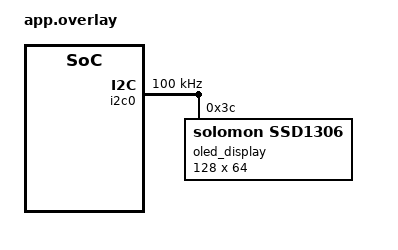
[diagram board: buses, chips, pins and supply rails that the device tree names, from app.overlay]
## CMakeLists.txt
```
# SPDX-License-Identifier: Apache-2.0

cmake_minimum_required(VERSION 3.20.0)

find_package(Zephyr REQUIRED HINTS $ENV{ZEPHYR_BASE})
project(lvgl)

FILE(GLOB app_sources src/*.c)
FILE(GLOB time_source src/time/*.c)
target_sources(app PRIVATE
                ${app_sources}
                ${time_source}
)
```

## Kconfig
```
# Copyright (c) 2023 Nordic Semiconductor ASA
# SPDX-License-Identifier: Apache-2.0

source "Kconfig.zephyr"

mainmenu "LVGL Sample"

config RESET_COUNTER_SW0
	bool "Reset counter when sw0 is pressed"
	depends on $(dt_alias_enabled,sw0)
	select GPIO
	default y

mainmenu "Network Wi-Fi apsta_mode application"

config WIFI_SAMPLE_AP_SSID
	string "SSID of soft AP"
	help
	  SSID of the soft AP created by the sample.
	  Fox example: "SOFT-AP"

config WIFI_SAMPLE_AP_PSK
	string "Pre-shared key for soft AP"
	help
	  WPA2 password used by the soft AP for client authentication.
	  For example: "PSK"

config WIFI_SAMPLE_SSID
	string "SSID of the target AP"
	help
	  SSID of the access point to connect to in station mode.
	  For example: "TARGET-AP"

config WIFI_SAMPLE_PSK
	string "Pre-shared key for target AP"
	help
	  WPA2 password used to connect to the target AP.
	  For example: "PSK"

config WIFI_SAMPLE_DHCPV4_START
	bool "Start DHCPv4 server in application layer."
	default y
	help
	  Enable this option to start the DHCPv4 server from the application layer,
	  typically before the Soft AP is initialized.

	  When disabled, the DHCPv4 server startup timing is determined by the vendor's
	  implementation. In some cases, the server may be started after the AP is up,
	  using the vendor's default IP address, gateway, subnet mask.


if WIFI_SAMPLE_DHCPV4_START

# Some vendors start the DHCPv4 server after Soft AP initialization,
# using default IP address and subnet mask. In such cases, manual
# configuration of gateway and netmask may not be necessary.
# The following options are used only if the DHCPv4 server is started
# by the application.

config WIFI_SAMPLE_AP_IP_ADDRESS
	string "IP address of soft AP"
	help
	  IP address assigned to the soft AP interface.
	  For example: "192.168.4.1"

config WIFI_SAMPLE_AP_NETMASK
	string "Netmask of soft AP"
	help
	  Subnet mask for the soft AP interface.
	  For example: "255.255.255.0"
endif # WIFI_SAMPLE_DHCPV4_START

config NET_SAMPLE_SNTP_SERVER_ADDRESS
	string "SNTP server address"
	default "pool.ntp.org"

config NET_SAMPLE_SNTP_SERVER_PORT
	int "SNTP server port"
	default 123

config NET_SAMPLE_SNTP_SERVER_TIMEOUT_MS
	int "Duration to wait for response"
	default 5000
```

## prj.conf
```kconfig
CONFIG_LV_Z_MEM_POOL_SIZE=16384
CONFIG_LV_Z_SHELL=y
CONFIG_MAIN_STACK_SIZE=4096

# --- CONFIG DISPLAY ---
CONFIG_DISPLAY=y
CONFIG_SSD1306=y
CONFIG_DISPLAY_LOG_LEVEL_ERR=y

CONFIG_INPUT=y
CONFIG_LOG=y
CONFIG_SHELL=y

# --- CONFIG LVGL CHUẨN ĐƠN SẮC 1-BIT ---
CONFIG_LVGL=y
CONFIG_LV_COLOR_DEPTH_1=y
CONFIG_LV_Z_BITS_PER_PIXEL=1
CONFIG_LV_Z_VDB_SIZE=64
CONFIG_LV_USE_THEME_DEFAULT=n

CONFIG_LV_USE_LOG=y
CONFIG_LV_USE_LABEL=y
CONFIG_LV_FONT_MONTSERRAT_14=y

# --- BẬT STACK MẠNG CỦA ZEPHYR ---
CONFIG_NETWORKING=y
CONFIG_NET_L2_ETHERNET=y
CONFIG_NET_LOG=y
CONFIG_NET_SHELL=y

# --- CẤU HÌNH IPV4 VÀ DHCP ---
CONFIG_NET_IPV4=y
CONFIG_NET_DHCPV4=y
CONFIG_NET_TCP=y
CONFIG_NET_SOCKETS=y

# --- BẬT TÍNH NĂNG WI-FI ---
CONFIG_WIFI=y
CONFIG_WIFI_ESP32=y

CONFIG_NET_L2_WIFI_SHELL=y
CONFIG_SHELL_BACKEND_SERIAL=y
CONFIG_NET_DHCPV4_SERVER=y
CONFIG_WIFI_SAMPLE_AP_SSID="hello"
CONFIG_WIFI_SAMPLE_SSID="thuy_trang_xinh_dep"
CONFIG_WIFI_SAMPLE_PSK="ffffffff"
CONFIG_WIFI_SAMPLE_AP_NETMASK="255.255.255.0"
CONFIG_WIFI_SAMPLE_AP_IP_ADDRESS="192.168.4.1"

CONFIG_POSIX_API=y
CONFIG_POSIX_C_LANG_SUPPORT_R=y
CONFIG_SNTP=y
CONFIG_NET_CONFIG_CLOCK_SNTP_INIT=y
CONFIG_NET_CONFIG_SNTP_INIT_SERVER="vn.pool.ntp.org"
CONFIG_NET_CONFIG_SNTP_INIT_RESYNC=y

CONFIG_DNS_RESOLVER=y
CONFIG_DNS_SERVER_IP_ADDRESSES=y
CONFIG_DNS_SERVER1="8.8.8.8"
CONFIG_DNS_SERVER2="8.8.4.4"

CONFIG_NET_LOG=y
CONFIG_NET_SOCKETS_SERVICE=y
CONFIG_ZVFS_POLL_MAX=4
CONFIG_NET_CONNECTION_MANAGER=y

CONFIG_STDOUT_CONSOLE=y
# enable to use thread names
CONFIG_THREAD_NAME=y
```

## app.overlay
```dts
&pinctrl {
    i2c0_custom: i2c0_custom {
        group1 {
            pinmux = <I2C0_SDA_GPIO8>,
                     <I2C0_SCL_GPIO9>;
            bias-pull-up;
            drive-open-drain;
            output-high;
        };
    };
};


&i2c0 {
    status = "okay";
    pinctrl-0 = <&i2c0_custom>;
    pinctrl-names = "default";
    clock-frequency = <I2C_BITRATE_STANDARD>;

    oled_display: ssd1306@3c {
        compatible = "solomon,ssd1306";
        reg = <0x3c>;
        status = "okay";
        width = <128>;
        height = <64>;
        segment-offset = <0>;
        page-offset = <0>;
        display-offset = <0>;
        multiplex-ratio = <63>;
        segment-remap;
        com-invdir;
        prechargep = <0x22>;
        softreset-on;
        ready-time-ms = <100>;
    };
};

/* 3. Cấu hình chosen gán oled_display làm màn hình chính */
/ {
    chosen {
        zephyr,display = &oled_display;
    };
};
```

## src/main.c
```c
#include <zephyr/kernel.h>
#include <zephyr/device.h>
#include <zephyr/devicetree.h>
#include <zephyr/drivers/display.h>
#include <lvgl.h>
#include <zephyr/kernel.h>
#include <zephyr/logging/log.h>
#include <zephyr/net/wifi_mgmt.h>
#include <zephyr/net/dhcpv4_server.h>
#include "display.h"
#include "wifi_connect.h"
#include "time/time.h"
#include "net_sample_common.h"

/* size of stack area used by each thread */
#define STACKSIZE 2048

/* scheduling priority used by each thread */
#define PRIORITY 7
K_THREAD_STACK_DEFINE(thread_init_wifi_stack_area, STACKSIZE);
static struct k_thread thread_init_wifi_data;

void thread_init_wifi(void *dummy1, void *dummy2, void *dummy3)
{
    int retry_count = 0;
    const int max_retries = 5;
    k_sleep(K_SECONDS(5));

    init_wifi();
	connect_to_wifi();

    wait_for_network();
    k_sleep(K_SECONDS(10));
    for (retry_count = 0; retry_count < max_retries; retry_count++) {
        if (do_sntp(AF_INET) == 0) {
            break;
        }
        printk("SNTP query failed, retrying... (%d/%d)", retry_count + 1, max_retries);
        k_sleep(K_SECONDS(3));
    }
}

int main(void)
{
    k_thread_create(&thread_init_wifi_data, thread_init_wifi_stack_area,
                    K_THREAD_STACK_SIZEOF(thread_init_wifi_stack_area),
                    thread_init_wifi, NULL, NULL, NULL,
                    PRIORITY, 0, K_NO_WAIT);
    display_init();
    while (1) {
        display_task_handler();
        k_sleep(K_MSEC(10)); 
    }
}
```

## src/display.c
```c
#undef _POSIX_C_SOURCE
#define _POSIX_C_SOURCE 200809L
#include <zephyr/kernel.h>
#include <zephyr/device.h>
#include <zephyr/devicetree.h>
#include <zephyr/drivers/display.h>
#include <lvgl.h>
#include <sys/time.h>
#include <time.h>
#include <stdio.h>
#include "display.h"
#include "time/time.h"

// --- QUẢN LÝ MÀN HÌNH ---
#define TOTAL_SCREENS 4
static lv_obj_t *screens[TOTAL_SCREENS]; // Mảng quản lý 4 màn hình
static uint8_t current_screen_idx = 0;   // Lưu index màn hình hiện tại (0 đến 3)

// --- WIDGETS & STYLES ---
static lv_obj_t *time_label;
static lv_obj_t *msg_label_1;
static lv_obj_t *msg_label_2;
static lv_obj_t *msg_label_3;
static lv_style_t text_style;

// --- TIMER ---
static lv_timer_t *screen_timer;

void update_lvgl_clock(void)
{
    struct timeval tv;
    struct tm tm;
    char time_str[32];

    if (gettimeofday(&tv, NULL) < 0) {
        return;
    }
    time_t local_time = tv.tv_sec + TIMEZONE_OFFSET_SEC;
    localtime_r(&local_time, &tm);

    snprintf(time_str, sizeof(time_str), "%02d:%02d:%02d\n%02d/%02d/%04d",
             tm.tm_hour, tm.tm_min, tm.tm_sec,
             tm.tm_mday, tm.tm_mon + 1, tm.tm_year + 1900);

    if (time_label != NULL) {
        lv_label_set_text(time_label, time_str);
    }
}

/**
 * @brief Hàm callback của LVGL Timer. Cứ sau mỗi 5000ms tự động trượt sang màn hình kế tiếp.
 */
static void screen_switch_timer_cb(lv_timer_t * timer)
{
    (void) timer; 

    // Tính toán index của màn hình tiếp theo
    uint8_t next_screen_idx = (current_screen_idx + 1) % TOTAL_SCREENS;

    // Kích hoạt hiệu ứng trượt sang trái (MOVE_LEFT) từ màn hình cũ sang màn hình mới
    lv_screen_load_anim(screens[next_screen_idx], LV_SCR_LOAD_ANIM_MOVE_LEFT, 500, 0, false);

    // Cập nhật lại trạng thái màn hình hiện tại
    current_screen_idx = next_screen_idx;
}

int display_init(void)
{
    const struct device *display_dev;

    display_dev = DEVICE_DT_GET(DT_CHOSEN(zephyr_display));
    if (!device_is_ready(display_dev)) {
        return -1; 
    }

    // Khởi tạo Style chữ dùng chung cho tất cả màn hình để tiết kiệm RAM
    lv_style_init(&text_style);
    lv_style_set_text_font(&text_style, &lv_font_montserrat_14); 
    lv_style_set_text_color(&text_style, lv_color_black());
    lv_style_set_text_align(&text_style, LV_TEXT_ALIGN_CENTER);

    // ==========================================
    // MÀN HÌNH 1 (Index 0): ĐỒNG HỒ HỆ THỐNG
    // ==========================================
    screens[0] = lv_obj_create(NULL);
    lv_obj_set_style_bg_color(screens[0], lv_color_white(), LV_PART_MAIN);
    
    time_label = lv_label_create(screens[0]);
    lv_obj_add_style(time_label, &text_style, LV_PART_MAIN);
    lv_label_set_text(time_label, "Waiting NTP...");
    lv_obj_align(time_label, LV_ALIGN_CENTER, 0, 0);

    // ==========================================
    // MÀN HÌNH 2 (Index 1): THÔNG ĐIỆP YÊU THƯƠNG 1
    // ==========================================
    screens[1] = lv_obj_create(NULL);
    lv_obj_set_style_bg_color(screens[1], lv_color_white(), LV_PART_MAIN);
    
    msg_label_1 = lv_label_create(screens[1]);
    lv_obj_add_style(msg_label_1, &text_style, LV_PART_MAIN);
    lv_label_set_text(msg_label_1, "Hello\neveryone\n!!!!!!");
    lv_obj_align(msg_label_1, LV_ALIGN_CENTER, 0, 0);

    // ==========================================
    // MÀN HÌNH 3 (Index 2): THÔNG ĐIỆP 2 (MỚI THÊM)
    // ==========================================
    screens[2] = lv_obj_create(NULL);
    lv_obj_set_style_bg_color(screens[2], lv_color_white(), LV_PART_MAIN);
    
    msg_label_2 = lv_label_create(screens[2]);
    lv_obj_add_style(msg_label_2, &text_style, LV_PART_MAIN);
    lv_label_set_text(msg_label_2, "This demo\nruns on\nZephyr OS");
    lv_obj_align(msg_label_2, LV_ALIGN_CENTER, 0, 0);

    // ==========================================
    // MÀN HÌNH 4 (Index 3): THÔNG ĐIỆP 3 (MỚI THÊM)
    // ==========================================
    screens[3] = lv_obj_create(NULL);
    lv_obj_set_style_bg_color(screens[3], lv_color_white(), LV_PART_MAIN);
    
    msg_label_3 = lv_label_create(screens[3]);
    lv_obj_add_style(msg_label_3, &text_style, LV_PART_MAIN);
    lv_label_set_text(msg_label_3, "Bye Bye\nSee you\nnext time!");
    lv_obj_align(msg_label_3, LV_ALIGN_CENTER, 0, 0);

    // Load màn hình đầu tiên (Màn hình Đồng hồ) làm mặc định lúc khởi động
    current_screen_idx = 0;
    lv_screen_load(screens[current_screen_idx]);

    // =================================================================
    // KHỞI TẠO LVGL TIMER: Gọi hàm callback định kỳ mỗi 5 giây (5000ms)
    // =================================================================
    screen_timer = lv_timer_create(screen_switch_timer_cb, 5000, NULL);
    if (screen_timer == NULL) {
        return -1; 
    }

    display_blanking_off(display_dev);
    return 0;
}

void display_task_handler(void)
{
    // Chỉ cập nhật đồng hồ khi màn hình Đồng hồ (Index 0) đang hiển thị thực tế
    if (wifi_connected && current_screen_idx == 0) {
        update_lvgl_clock();
    }

    // Thực thi hệ thống quản lý timer và sự kiện đồ họa của LVGL
    lv_timer_handler();
}
```

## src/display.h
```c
#ifndef DISPLAY_H
#define DISPLAY_H

int display_init(void);
void display_task_handler(void);

#endif
```

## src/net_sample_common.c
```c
/*
 * Copyright (c) 2024 Nordic Nordic Semiconductor ASA
 *
 * SPDX-License-Identifier: Apache-2.0
 */

#include <zephyr/logging/log.h>
LOG_MODULE_REGISTER(net_samples_common, LOG_LEVEL_DBG);

#include <zephyr/net/conn_mgr_connectivity.h>
#include <zephyr/net/conn_mgr_monitor.h>

#if defined(CONFIG_NET_CONNECTION_MANAGER)
#if defined(CONFIG_NET_SAMPLE_COMMON_WAIT_DNS_SERVER_ADDITION)
#define L4_EVENT_MASK (NET_EVENT_DNS_SERVER_ADD | NET_EVENT_L4_DISCONNECTED)
#else
#define L4_EVENT_MASK (NET_EVENT_L4_CONNECTED | NET_EVENT_L4_DISCONNECTED)
#endif

static struct net_mgmt_event_callback l4_cb;
static K_SEM_DEFINE(network_connected, 0, 1);

static void l4_event_handler(struct net_mgmt_event_callback *cb, uint64_t event,
			     struct net_if *iface)
{
	switch (event) {
#if defined(CONFIG_NET_SAMPLE_COMMON_WAIT_DNS_SERVER_ADDITION)
	case NET_EVENT_DNS_SERVER_ADD:
#else
	case NET_EVENT_L4_CONNECTED:
#endif
		LOG_INF("Network connectivity established and IP address assigned");
		k_sem_give(&network_connected);
		break;
	case NET_EVENT_L4_DISCONNECTED:
		break;
	default:
		break;
	}
}

void wait_for_network(void)
{
	net_mgmt_init_event_callback(&l4_cb, l4_event_handler, L4_EVENT_MASK);
	net_mgmt_add_event_callback(&l4_cb);
	conn_mgr_mon_resend_status();

	printk("Waiting for network...");

	k_sem_take(&network_connected, K_FOREVER);
}
#endif /* CONFIG_NET_CONNECTION_MANAGER */
```

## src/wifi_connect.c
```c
#include "wifi_connect.h"

LOG_MODULE_REGISTER(MAIN);

#define MACSTR "%02X:%02X:%02X:%02X:%02X:%02X"

#define NET_EVENT_WIFI_MASK                                             \
	(NET_EVENT_WIFI_CONNECT_RESULT | NET_EVENT_WIFI_DISCONNECT_RESULT | \
	 NET_EVENT_WIFI_AP_ENABLE_RESULT | NET_EVENT_WIFI_AP_DISABLE_RESULT | \
	 NET_EVENT_WIFI_AP_STA_CONNECTED | NET_EVENT_WIFI_AP_STA_DISCONNECTED | \
     NET_EVENT_IPV4_ADDR_ADD)

static struct net_if *sta_iface;

static struct wifi_connect_req_params sta_config;

static struct net_mgmt_event_callback cb;

/* Check necessary definitions */

BUILD_ASSERT(sizeof(CONFIG_WIFI_SAMPLE_AP_SSID) > 1,
	     "CONFIG_WIFI_SAMPLE_AP_SSID is empty. Please set it in conf file.");

BUILD_ASSERT(sizeof(CONFIG_WIFI_SAMPLE_SSID) > 1,
	     "CONFIG_WIFI_SAMPLE_SSID is empty. Please set it in conf file.");

#if CONFIG_WIFI_SAMPLE_DHCPV4_START
BUILD_ASSERT(sizeof(CONFIG_WIFI_SAMPLE_AP_IP_ADDRESS) > 1,
	     "CONFIG_WIFI_SAMPLE_AP_IP_ADDRESS is empty. Please set it in conf file.");

BUILD_ASSERT(sizeof(CONFIG_WIFI_SAMPLE_AP_NETMASK) > 1,
	     "CONFIG_WIFI_SAMPLE_AP_NETMASK is empty. Please set it in conf file.");

#endif

void wifi_event_handler(struct net_mgmt_event_callback *cb, uint64_t mgmt_event,
			       struct net_if *iface)
{
	switch (mgmt_event) {
	case NET_EVENT_WIFI_CONNECT_RESULT: {
		LOG_INF("Connected to %s", CONFIG_WIFI_SAMPLE_SSID);
		break;
	}
	case NET_EVENT_WIFI_DISCONNECT_RESULT: {
		LOG_INF("Disconnected from %s", CONFIG_WIFI_SAMPLE_SSID);
		break;
	}
	case NET_EVENT_WIFI_AP_ENABLE_RESULT: {
		LOG_INF("AP Mode is enabled. Waiting for station to connect");
		break;
	}
	case NET_EVENT_WIFI_AP_DISABLE_RESULT: {
		LOG_INF("AP Mode is disabled.");
		break;
	}
	case NET_EVENT_WIFI_AP_STA_CONNECTED: {
		struct wifi_ap_sta_info *sta_info = (struct wifi_ap_sta_info *)cb->info;

		LOG_INF("station: " MACSTR " joined ", sta_info->mac[0], sta_info->mac[1],
			sta_info->mac[2], sta_info->mac[3], sta_info->mac[4], sta_info->mac[5]);
		break;
	}
	case NET_EVENT_WIFI_AP_STA_DISCONNECTED: {
		struct wifi_ap_sta_info *sta_info = (struct wifi_ap_sta_info *)cb->info;

		LOG_INF("station: " MACSTR " leave ", sta_info->mac[0], sta_info->mac[1],
			sta_info->mac[2], sta_info->mac[3], sta_info->mac[4], sta_info->mac[5]);
		break;
	}
	default:
		break;
	}
}

void init_wifi(void)
{
	net_mgmt_init_event_callback(&cb, wifi_event_handler, NET_EVENT_WIFI_MASK);
	net_mgmt_add_event_callback(&cb);

	/* Get STA interface in AP-STA mode. */
	sta_iface = net_if_get_wifi_sta();
}

int connect_to_wifi(void)
{
	if (!sta_iface) {
		LOG_INF("STA: interface no initialized");
		return -EIO;
	}

	sta_config.ssid = (const uint8_t *)CONFIG_WIFI_SAMPLE_SSID;
	sta_config.ssid_length = sizeof(CONFIG_WIFI_SAMPLE_SSID) - 1;
	sta_config.psk = (const uint8_t *)CONFIG_WIFI_SAMPLE_PSK;
	sta_config.psk_length = sizeof(CONFIG_WIFI_SAMPLE_PSK) - 1;
	sta_config.security = WIFI_SECURITY_TYPE_PSK;
	sta_config.channel = WIFI_CHANNEL_ANY;
	sta_config.band = WIFI_FREQ_BAND_2_4_GHZ;

	LOG_INF("Connecting to SSID: %s\n", sta_config.ssid);

	int ret = net_mgmt(NET_REQUEST_WIFI_CONNECT, sta_iface, &sta_config,
			   sizeof(struct wifi_connect_req_params));
	if (ret) {
		LOG_ERR("Unable to Connect to (%s)", CONFIG_WIFI_SAMPLE_SSID);
	}

	return ret;
}
```

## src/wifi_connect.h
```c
#ifndef WIFI_CONNECT_H
#define WIFI_CONNECT_H

#include <zephyr/kernel.h>
#include <zephyr/logging/log.h>
#include <zephyr/net/wifi_mgmt.h>
#include <zephyr/net/dhcpv4_server.h>

void wifi_event_handler(struct net_mgmt_event_callback *cb, uint64_t mgmt_event,
			       struct net_if *iface);
void init_wifi(void);
int connect_to_wifi(void);

#endif /* WIFI_CONNECT_H */
```
